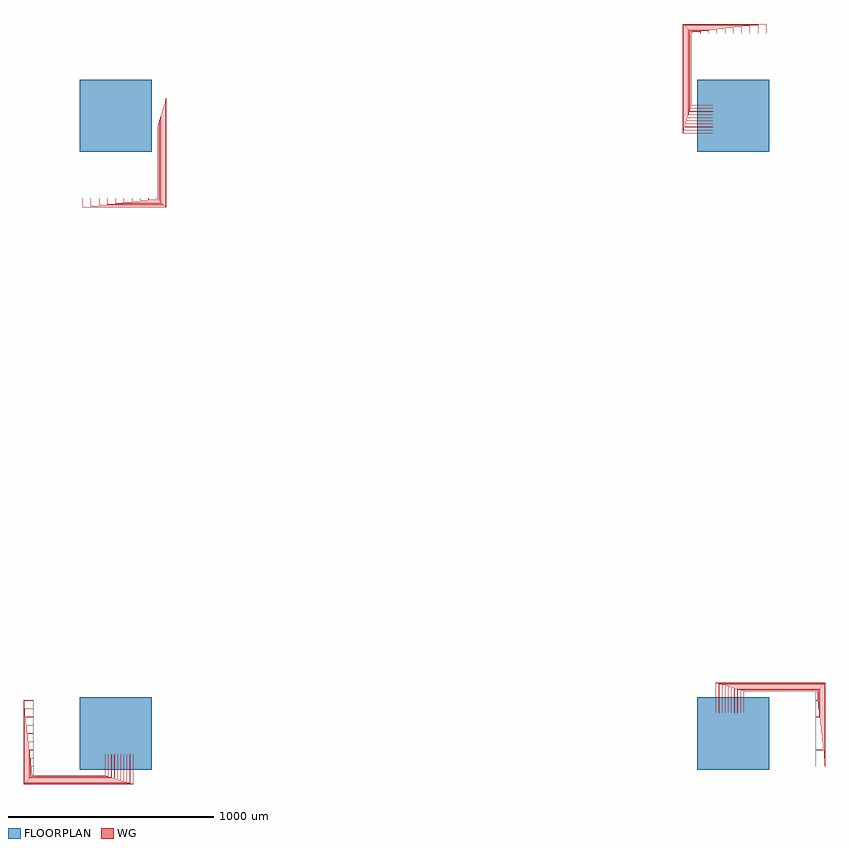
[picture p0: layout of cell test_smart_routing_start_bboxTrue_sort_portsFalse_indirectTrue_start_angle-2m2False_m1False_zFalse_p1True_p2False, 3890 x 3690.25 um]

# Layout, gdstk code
import gdstk
lib = gdstk.Library(unit=1e-6, precision=1e-09)
def R(c, l, rs):  # rectangles x0, y0, x1, y1
    for r in rs: c.add(gdstk.rectangle(r[:2], r[2:], *l))
def P(c, l, *ps):  # polygons
    for p in ps: c.add(gdstk.Polygon(p, *l))
WG = (1, 0)
FLOORPLAN = (10, 0)

test_smart_routing_start = lib.new_cell('test_smart_routing_start_bboxTrue_sort_portsFalse_indirectTrue_start_angle-2m2False_m1False_zFalse_p1True_p2False')
P(test_smart_routing_start, WG, [(-404.2,-204.45),(-404.2,-200.05),(-400,-200.05),(-400,-200.25),(-404,-200.25),(-404,-204.25),(-50.25,-204.25),(-50.25,-100),(-50.05,-100),(-50.05,-204.45)],
  [(-404.5,-204.75),(-404.5,-199.75),(-400,-199.75),(-400,-199.95),(-404.3,-199.95),(-404.3,-204.55),(-49.95,-204.55),(-49.95,-100),(-49.75,-100),(-49.75,-204.75)],
  [(-408.7,-208.95),(-408.7,-160.05),(-400,-160.05),(-400,-160.25),(-408.5,-160.25),(-408.5,-208.75),(-35.25,-208.75),(-35.25,-100),(-35.05,-100),(-35.05,-208.95)],
  [(-409,-209.25),(-409,-159.75),(-400,-159.75),(-400,-159.95),(-408.8,-159.95),(-408.8,-209.05),(-34.95,-209.05),(-34.95,-100),(-34.75,-100),(-34.75,-209.25)],
  [(-413.2,-213.45),(-413.2,-120.05),(-400,-120.05),(-400,-120.25),(-413,-120.25),(-413,-213.25),(-20.25,-213.25),(-20.25,-100),(-20.05,-100),(-20.05,-213.45)],
  [(-413.5,-213.75),(-413.5,-119.75),(-400,-119.75),(-400,-119.95),(-413.3,-119.95),(-413.3,-213.55),(-19.95,-213.55),(-19.95,-100),(-19.75,-100),(-19.75,-213.75)],
  [(-417.7,-217.95),(-417.7,-80.05),(-400,-80.05),(-400,-80.25),(-417.5,-80.25),(-417.5,-217.75),(-5.25,-217.75),(-5.25,-100),(-5.05,-100),(-5.05,-217.95)],
  [(-418,-218.25),(-418,-79.75),(-400,-79.75),(-400,-79.95),(-417.8,-79.95),(-417.8,-218.05),(-4.95,-218.05),(-4.95,-100),(-4.75,-100),(-4.75,-218.25)],
  [(-422.2,-222.45),(-422.2,-40.05),(-400,-40.05),(-400,-40.25),(-422,-40.25),(-422,-222.25),(9.75,-222.25),(9.75,-100),(9.95,-100),(9.95,-222.45)],
  [(-422.5,-222.75),(-422.5,-39.75),(-400,-39.75),(-400,-39.95),(-422.3,-39.95),(-422.3,-222.55),(10.05,-222.55),(10.05,-100),(10.25,-100),(10.25,-222.75)],
  [(-426.7,-226.95),(-426.7,-0.05),(-400,-0.05),(-400,-0.25),(-426.5,-0.25),(-426.5,-226.75),(24.75,-226.75),(24.75,-100),(24.95,-100),(24.95,-226.95)],
  [(-427,-227.25),(-427,0.25),(-400,0.25),(-400,0.05),(-426.8,0.05),(-426.8,-227.05),(25.05,-227.05),(25.05,-100),(25.25,-100),(25.25,-227.25)],
  [(-431.2,-231.45),(-431.2,39.95),(-400,39.95),(-400,39.75),(-431,39.75),(-431,-231.25),(39.75,-231.25),(39.75,-100),(39.95,-100),(39.95,-231.45)],
  [(-431.5,-231.75),(-431.5,40.25),(-400,40.25),(-400,40.05),(-431.3,40.05),(-431.3,-231.55),(40.05,-231.55),(40.05,-100),(40.25,-100),(40.25,-231.75)],
  [(-435.7,-235.95),(-435.7,79.95),(-400,79.95),(-400,79.75),(-435.5,79.75),(-435.5,-235.75),(54.75,-235.75),(54.75,-100),(54.95,-100),(54.95,-235.95)],
  [(-436,-236.25),(-436,80.25),(-400,80.25),(-400,80.05),(-435.8,80.05),(-435.8,-236.05),(55.05,-236.05),(55.05,-100),(55.25,-100),(55.25,-236.25)],
  [(-440.2,-240.45),(-440.2,119.95),(-400,119.95),(-400,119.75),(-440,119.75),(-440,-240.25),(69.75,-240.25),(69.75,-100),(69.95,-100),(69.95,-240.45)],
  [(-440.5,-240.75),(-440.5,120.25),(-400,120.25),(-400,120.05),(-440.3,120.05),(-440.3,-240.55),(70.05,-240.55),(70.05,-100),(70.25,-100),(70.25,-240.75)],
  [(-444.7,-244.95),(-444.7,159.95),(-400,159.95),(-400,159.75),(-444.5,159.75),(-444.5,-244.75),(84.75,-244.75),(84.75,-100),(84.95,-100),(84.95,-244.95)],
  [(-445,-245.25),(-445,160.25),(-400,160.25),(-400,160.05),(-444.8,160.05),(-444.8,-245.05),(85.05,-245.05),(85.05,-100),(85.25,-100),(85.25,-245.25)],
  [(200.05,2595.8),(200.05,2600),(200.25,2600),(200.25,2596),(204.25,2596),(204.25,2949.75),(100,2949.75),(100,2949.95),(204.45,2949.95),(204.45,2595.8)],
  [(199.75,2595.5),(199.75,2600),(199.95,2600),(199.95,2595.7),(204.55,2595.7),(204.55,2950.05),(100,2950.05),(100,2950.25),(204.75,2950.25),(204.75,2595.5)],
  [(160.05,2591.3),(160.05,2600),(160.25,2600),(160.25,2591.5),(208.75,2591.5),(208.75,2964.75),(100,2964.75),(100,2964.95),(208.95,2964.95),(208.95,2591.3)],
  [(159.75,2591),(159.75,2600),(159.95,2600),(159.95,2591.2),(209.05,2591.2),(209.05,2965.05),(100,2965.05),(100,2965.25),(209.25,2965.25),(209.25,2591)],
  [(120.05,2586.8),(120.05,2600),(120.25,2600),(120.25,2587),(213.25,2587),(213.25,2979.75),(100,2979.75),(100,2979.95),(213.45,2979.95),(213.45,2586.8)],
  [(119.75,2586.5),(119.75,2600),(119.95,2600),(119.95,2586.7),(213.55,2586.7),(213.55,2980.05),(100,2980.05),(100,2980.25),(213.75,2980.25),(213.75,2586.5)],
  [(80.05,2582.3),(80.05,2600),(80.25,2600),(80.25,2582.5),(217.75,2582.5),(217.75,2994.75),(100,2994.75),(100,2994.95),(217.95,2994.95),(217.95,2582.3)],
  [(79.75,2582),(79.75,2600),(79.95,2600),(79.95,2582.2),(218.05,2582.2),(218.05,2995.05),(100,2995.05),(100,2995.25),(218.25,2995.25),(218.25,2582)],
  [(40.05,2577.8),(40.05,2600),(40.25,2600),(40.25,2578),(222.25,2578),(222.25,3009.75),(100,3009.75),(100,3009.95),(222.45,3009.95),(222.45,2577.8)],
  [(39.75,2577.5),(39.75,2600),(39.95,2600),(39.95,2577.7),(222.55,2577.7),(222.55,3010.05),(100,3010.05),(100,3010.25),(222.75,3010.25),(222.75,2577.5)],
  [(0.05,2573.3),(0.05,2600),(0.25,2600),(0.25,2573.5),(226.75,2573.5),(226.75,3024.75),(100,3024.75),(100,3024.95),(226.95,3024.95),(226.95,2573.3)],
  [(-0.25,2573),(-0.25,2600),(-0.05,2600),(-0.05,2573.2),(227.05,2573.2),(227.05,3025.05),(100,3025.05),(100,3025.25),(227.25,3025.25),(227.25,2573)],
  [(-39.95,2568.8),(-39.95,2600),(-39.75,2600),(-39.75,2569),(231.25,2569),(231.25,3039.75),(100,3039.75),(100,3039.95),(231.45,3039.95),(231.45,2568.8)],
  [(-40.25,2568.5),(-40.25,2600),(-40.05,2600),(-40.05,2568.7),(231.55,2568.7),(231.55,3040.05),(100,3040.05),(100,3040.25),(231.75,3040.25),(231.75,2568.5)],
  [(-79.95,2564.3),(-79.95,2600),(-79.75,2600),(-79.75,2564.5),(235.75,2564.5),(235.75,3054.75),(100,3054.75),(100,3054.95),(235.95,3054.95),(235.95,2564.3)],
  [(-80.25,2564),(-80.25,2600),(-80.05,2600),(-80.05,2564.2),(236.05,2564.2),(236.05,3055.05),(100,3055.05),(100,3055.25),(236.25,3055.25),(236.25,2564)],
  [(-119.95,2559.8),(-119.95,2600),(-119.75,2600),(-119.75,2560),(240.25,2560),(240.25,3069.75),(100,3069.75),(100,3069.95),(240.45,3069.95),(240.45,2559.8)],
  [(-120.25,2559.5),(-120.25,2600),(-120.05,2600),(-120.05,2559.7),(240.55,2559.7),(240.55,3070.05),(100,3070.05),(100,3070.25),(240.75,3070.25),(240.75,2559.5)],
  [(-159.95,2555.3),(-159.95,2600),(-159.75,2600),(-159.75,2555.5),(244.75,2555.5),(244.75,3084.75),(100,3084.75),(100,3084.95),(244.95,3084.95),(244.95,2555.3)],
  [(-160.25,2555),(-160.25,2600),(-160.05,2600),(-160.05,2555.2),(245.05,2555.2),(245.05,3085.05),(100,3085.05),(100,3085.25),(245.25,3085.25),(245.25,2555)],
  [(3050.05,100),(3050.05,204.45),(3404.2,204.45),(3404.2,200.05),(3400,200.05),(3400,200.25),(3404,200.25),(3404,204.25),(3050.25,204.25),(3050.25,100)],
  [(3049.75,100),(3049.75,204.75),(3404.5,204.75),(3404.5,199.75),(3400,199.75),(3400,199.95),(3404.3,199.95),(3404.3,204.55),(3049.95,204.55),(3049.95,100)],
  [(3035.05,100),(3035.05,208.95),(3408.7,208.95),(3408.7,160.05),(3400,160.05),(3400,160.25),(3408.5,160.25),(3408.5,208.75),(3035.25,208.75),(3035.25,100)],
  [(3034.75,100),(3034.75,209.25),(3409,209.25),(3409,159.75),(3400,159.75),(3400,159.95),(3408.8,159.95),(3408.8,209.05),(3034.95,209.05),(3034.95,100)],
  [(3020.05,100),(3020.05,213.45),(3413.2,213.45),(3413.2,120.05),(3400,120.05),(3400,120.25),(3413,120.25),(3413,213.25),(3020.25,213.25),(3020.25,100)],
  [(3019.75,100),(3019.75,213.75),(3413.5,213.75),(3413.5,119.75),(3400,119.75),(3400,119.95),(3413.3,119.95),(3413.3,213.55),(3019.95,213.55),(3019.95,100)],
  [(3400,80.05),(3400,80.25),(3417.5,80.25),(3417.5,217.75),(3005.25,217.75),(3005.25,100),(3005.05,100),(3005.05,217.95),(3417.7,217.95),(3417.7,80.05)],
  [(3400,79.75),(3400,79.95),(3417.8,79.95),(3417.8,218.05),(3004.95,218.05),(3004.95,100),(3004.75,100),(3004.75,218.25),(3418,218.25),(3418,79.75)],
  [(3400,40.05),(3400,40.25),(3422,40.25),(3422,222.25),(2990.25,222.25),(2990.25,100),(2990.05,100),(2990.05,222.45),(3422.2,222.45),(3422.2,40.05)],
  [(3400,39.75),(3400,39.95),(3422.3,39.95),(3422.3,222.55),(2989.95,222.55),(2989.95,100),(2989.75,100),(2989.75,222.75),(3422.5,222.75),(3422.5,39.75)],
  [(3400,0.05),(3400,0.25),(3426.5,0.25),(3426.5,226.75),(2975.25,226.75),(2975.25,100),(2975.05,100),(2975.05,226.95),(3426.7,226.95),(3426.7,0.05)],
  [(3400,-0.25),(3400,-0.05),(3426.8,-0.05),(3426.8,227.05),(2974.95,227.05),(2974.95,100),(2974.75,100),(2974.75,227.25),(3427,227.25),(3427,-0.25)],
  [(3400,-39.95),(3400,-39.75),(3431,-39.75),(3431,231.25),(2960.25,231.25),(2960.25,100),(2960.05,100),(2960.05,231.45),(3431.2,231.45),(3431.2,-39.95)],
  [(3400,-40.25),(3400,-40.05),(3431.3,-40.05),(3431.3,231.55),(2959.95,231.55),(2959.95,100),(2959.75,100),(2959.75,231.75),(3431.5,231.75),(3431.5,-40.25)],
  [(3400,-79.95),(3400,-79.75),(3435.5,-79.75),(3435.5,235.75),(2945.25,235.75),(2945.25,100),(2945.05,100),(2945.05,235.95),(3435.7,235.95),(3435.7,-79.95)],
  [(3400,-80.25),(3400,-80.05),(3435.8,-80.05),(3435.8,236.05),(2944.95,236.05),(2944.95,100),(2944.75,100),(2944.75,236.25),(3436,236.25),(3436,-80.25)],
  [(3400,-119.95),(3400,-119.75),(3440,-119.75),(3440,240.25),(2930.25,240.25),(2930.25,100),(2930.05,100),(2930.05,240.45),(3440.2,240.45),(3440.2,-119.95)],
  [(3400,-120.25),(3400,-120.05),(3440.3,-120.05),(3440.3,240.55),(2929.95,240.55),(2929.95,100),(2929.75,100),(2929.75,240.75),(3440.5,240.75),(3440.5,-120.25)],
  [(3400,-159.95),(3400,-159.75),(3444.5,-159.75),(3444.5,244.75),(2915.25,244.75),(2915.25,100),(2915.05,100),(2915.05,244.95),(3444.7,244.95),(3444.7,-159.95)],
  [(3400,-160.25),(3400,-160.05),(3444.8,-160.05),(3444.8,245.05),(2914.95,245.05),(2914.95,100),(2914.75,100),(2914.75,245.25),(3445,245.25),(3445,-160.25)],
  [(2795.55,3050.05),(2795.55,3404.2),(2799.95,3404.2),(2799.95,3400),(2799.75,3400),(2799.75,3404),(2795.75,3404),(2795.75,3050.25),(2900,3050.25),(2900,3050.05)],
  [(2795.25,3049.75),(2795.25,3404.5),(2800.25,3404.5),(2800.25,3400),(2800.05,3400),(2800.05,3404.3),(2795.45,3404.3),(2795.45,3049.95),(2900,3049.95),(2900,3049.75)],
  [(2791.05,3035.05),(2791.05,3408.7),(2839.95,3408.7),(2839.95,3400),(2839.75,3400),(2839.75,3408.5),(2791.25,3408.5),(2791.25,3035.25),(2900,3035.25),(2900,3035.05)],
  [(2790.75,3034.75),(2790.75,3409),(2840.25,3409),(2840.25,3400),(2840.05,3400),(2840.05,3408.8),(2790.95,3408.8),(2790.95,3034.95),(2900,3034.95),(2900,3034.75)],
  [(2786.55,3020.05),(2786.55,3413.2),(2879.95,3413.2),(2879.95,3400),(2879.75,3400),(2879.75,3413),(2786.75,3413),(2786.75,3020.25),(2900,3020.25),(2900,3020.05)],
  [(2786.25,3019.75),(2786.25,3413.5),(2880.25,3413.5),(2880.25,3400),(2880.05,3400),(2880.05,3413.3),(2786.45,3413.3),(2786.45,3019.95),(2900,3019.95),(2900,3019.75)],
  [(2782.05,3005.05),(2782.05,3417.7),(2919.95,3417.7),(2919.95,3400),(2919.75,3400),(2919.75,3417.5),(2782.25,3417.5),(2782.25,3005.25),(2900,3005.25),(2900,3005.05)],
  [(2781.75,3004.75),(2781.75,3418),(2920.25,3418),(2920.25,3400),(2920.05,3400),(2920.05,3417.8),(2781.95,3417.8),(2781.95,3004.95),(2900,3004.95),(2900,3004.75)],
  [(2777.55,2990.05),(2777.55,3422.2),(2959.95,3422.2),(2959.95,3400),(2959.75,3400),(2959.75,3422),(2777.75,3422),(2777.75,2990.25),(2900,2990.25),(2900,2990.05)],
  [(2777.25,2989.75),(2777.25,3422.5),(2960.25,3422.5),(2960.25,3400),(2960.05,3400),(2960.05,3422.3),(2777.45,3422.3),(2777.45,2989.95),(2900,2989.95),(2900,2989.75)],
  [(2773.05,2975.05),(2773.05,3426.7),(2999.95,3426.7),(2999.95,3400),(2999.75,3400),(2999.75,3426.5),(2773.25,3426.5),(2773.25,2975.25),(2900,2975.25),(2900,2975.05)],
  [(2772.75,2974.75),(2772.75,3427),(3000.25,3427),(3000.25,3400),(3000.05,3400),(3000.05,3426.8),(2772.95,3426.8),(2772.95,2974.95),(2900,2974.95),(2900,2974.75)],
  [(2768.55,2960.05),(2768.55,3431.2),(3039.95,3431.2),(3039.95,3400),(3039.75,3400),(3039.75,3431),(2768.75,3431),(2768.75,2960.25),(2900,2960.25),(2900,2960.05)],
  [(2768.25,2959.75),(2768.25,3431.5),(3040.25,3431.5),(3040.25,3400),(3040.05,3400),(3040.05,3431.3),(2768.45,3431.3),(2768.45,2959.95),(2900,2959.95),(2900,2959.75)],
  [(2764.05,2945.05),(2764.05,3435.7),(3079.95,3435.7),(3079.95,3400),(3079.75,3400),(3079.75,3435.5),(2764.25,3435.5),(2764.25,2945.25),(2900,2945.25),(2900,2945.05)],
  [(2763.75,2944.75),(2763.75,3436),(3080.25,3436),(3080.25,3400),(3080.05,3400),(3080.05,3435.8),(2763.95,3435.8),(2763.95,2944.95),(2900,2944.95),(2900,2944.75)],
  [(2759.55,2930.05),(2759.55,3440.2),(3119.95,3440.2),(3119.95,3400),(3119.75,3400),(3119.75,3440),(2759.75,3440),(2759.75,2930.25),(2900,2930.25),(2900,2930.05)],
  [(2759.25,2929.75),(2759.25,3440.5),(3120.25,3440.5),(3120.25,3400),(3120.05,3400),(3120.05,3440.3),(2759.45,3440.3),(2759.45,2929.95),(2900,2929.95),(2900,2929.75)],
  [(2755.05,2915.05),(2755.05,3444.7),(3159.95,3444.7),(3159.95,3400),(3159.75,3400),(3159.75,3444.5),(2755.25,3444.5),(2755.25,2915.25),(2900,2915.25),(2900,2915.05)],
  [(2754.75,2914.75),(2754.75,3445),(3160.25,3445),(3160.25,3400),(3160.05,3400),(3160.05,3444.8),(2754.95,3444.8),(2754.95,2914.95),(2900,2914.95),(2900,2914.75)])
R(test_smart_routing_start, FLOORPLAN, [(-175,-175,175,175), (2825,-175,3175,175), (-175,2825,175,3175), (2825,2825,3175,3175)])
P(test_smart_routing_start, FLOORPLAN, [(-400,-200),(-400,160),(-400,160),(-400,-200)],
  [(-160,2600),(-160,2600),(200,2600),(200,2600)],
  [(3400,-160),(3400,200),(3400,200),(3400,-160)],
  [(2800,3400),(2800,3400),(3160,3400),(3160,3400)])

lib.write_gds('test_smart_routing_start_bboxTrue_sort_portsFalse_indirectTrue_start_angle-2m2False_m1False_zFalse_p1True_p2False.gds')
